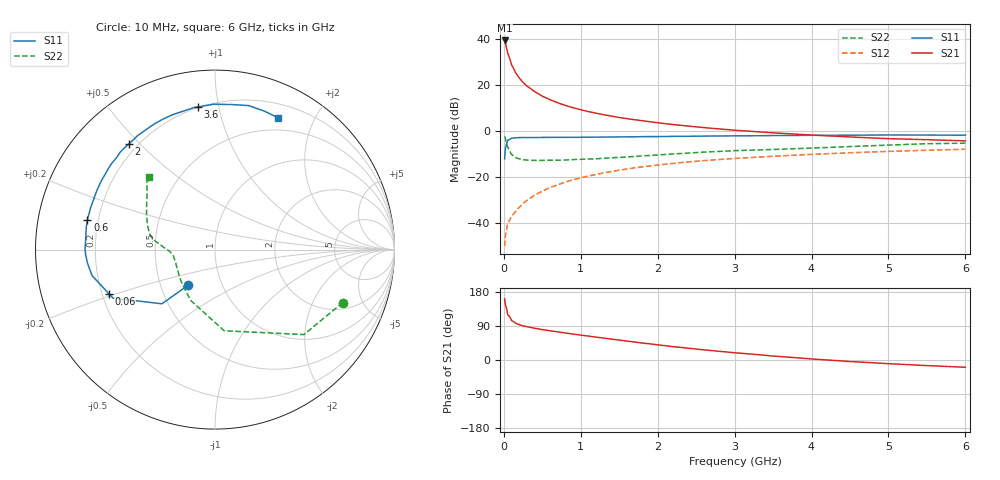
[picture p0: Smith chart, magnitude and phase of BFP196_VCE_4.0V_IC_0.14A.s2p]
! Infineon Technologies  Discrete & RF Semiconductors
! BFP196
! VCE =  4.0 V,  IC = 0.14 A
! Common Emitter S-Parameters:  Jan 2017
# GHz  S  MA  R  50
!  f  S11  S21  S12  S22
! GHz  MAG  ANG  MAG  ANG  MAG  ANG  MAG  ANG
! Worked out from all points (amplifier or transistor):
!   77 points, 10 MHz to 6 GHz, reference 50 ohm
!   highest |S21| = 39.3 dB at 10 MHz (marker M1)
!   |S21| within 3 dB of that: start of sweep to 33.56 MHz
!   unconditionally stable (mu >= 1): 260.1 MHz to 2.589 GHz
!   at 130 MHz: K = 0.85, MSG = 31.3 dB, |S12| = -35.8 dB
!   at 2.2 GHz: K = 1.02, MAG = 7.6 dB, |S12| = -14.0 dB
!   at 6 GHz: K = 0.98, MSG = 1.8 dB, |S12| = -7.9 dB
!   S11 on the Smith chart (normalised r, x): 10 MHz: 0.69, -0.29; 60 MHz: 0.23, -0.19; 600 MHz: 0.16, +0.11; 2 GHz: 0.17, +0.46; 3.6 GHz: 0.20, +0.87; 6 GHz: 0.35, +1.53
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0.01  0.2496 -127.1  91.98 161.3  0.0032 72.2  0.7708 -22.5
0.02  0.4225 -134.4  81.13 145.8  0.0053 67.0  0.6852 -43.7
0.05  0.6294 -154.6  49.28 119.5  0.0098 55.5  0.4553 -83.5
0.06  0.6405 -157.5  44.73 117.6  0.0106 57.1  0.419 -88.0
0.1  0.6999 -168.0  27.4 104.1  0.0139 61.6  0.3143 -115.3
0.15  0.7144 -174.0  18.68 97.5  0.0179 62.8  0.2679 -132.1
0.2  0.7213 -177.6  14.1 93.3  0.0221 68.0  0.2498 -142.6
0.25  0.7242 179.6  11.33 90.1  0.0271 68.9  0.2397 -149.0
0.3  0.7225 177.3  9.457 87.8  0.0313 71.0  0.235 -154.4
0.4  0.7239 173.5  7.135 83.7  0.0404 71.9  0.2312 -160.6
0.5  0.728 170.0  5.712 80.2  0.0499 71.7  0.2311 -164.7
0.6  0.7299 166.8  4.782 77.1  0.0598 71.7  0.2334 -168.0
0.8  0.7312 161.3  3.6 71.2  0.0787 70.6  0.236 -172.0
1.1  0.7364 153.0  2.646 63.1  0.1061 67.0  0.2476 -176.4
1.5  0.7472 142.4  1.972 52.6  0.1417 61.5  0.2691 179.4
2  0.7591 129.3  1.515 40.0  0.1834 54.0  0.3031 175.4
2.1  0.7624 126.8  1.448 37.7  0.1911 52.5  0.3111 174.4
3.1  0.7887 105.7  1.017 17.5  0.2603 38.2  0.3801 165.0
3.6  0.8006 96.8  0.896 9.0  0.2895 31.9  0.4046 158.7
4.1  0.8098 89.0  0.804 1.4  0.3173 25.7  0.434 151.5
5.1  0.8222 75.5  0.678 -10.7  0.3665 13.6  0.5035 138.7
6  0.8144 64.6  0.613 -19.2  0.404 3.5  0.5471 131.9
